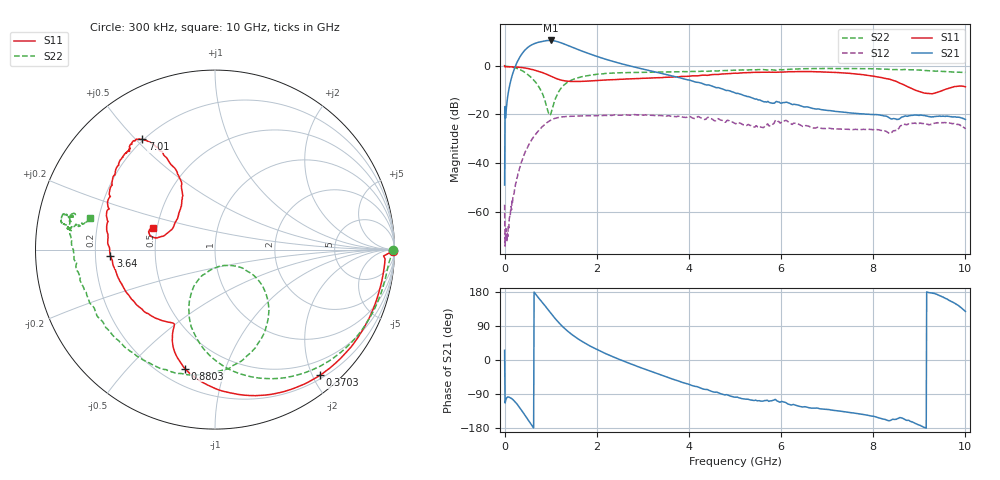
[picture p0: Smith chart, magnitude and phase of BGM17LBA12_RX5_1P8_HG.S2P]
!Agilent Technologies,E5071C,MY46316587,B.13.01
!Date: Fri Dec 08 11:11:56 2017
!Data & Calibration Information:
!Freq	S11:SOLT2(ON)	S21:SOLT2(ON)	S12:SOLT2(ON)	S22:SOLT2(ON)
!PortZ  Port1:50+j0  Port2:50+j0
!Above PortZ is port z conversion or system Z0 setting when saving the data.
!When reading, reference impedance value at option line is always used.
# Hz S dB R 50
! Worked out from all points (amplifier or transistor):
!   1001 points, 300 kHz to 10 GHz, reference 50 ohm
!   highest |S21| = 10.3 dB at 1 GHz (marker M1)
!   |S21| within 3 dB of that: 495.5 MHz to 1.496 GHz (1 GHz wide, 100 % of centre)
!   unconditionally stable (mu >= 1): start of sweep to end of sweep
!   at 1.66 GHz: K = 1.46, MAG = 9.3 dB, |S12| = -20.6 dB
!   at 5 GHz: K = 5.48, MAG = -4.1 dB, |S12| = -23.7 dB
!   at 10 GHz: K = 53.03, MAG = -18.3 dB, |S12| = -26.0 dB
!   lowest NFmin = 1.09 dB at 750 MHz
!   S11 on the Smith chart (normalised r, x): 300 kHz: open; 370.3 MHz: 0.25, -2.12; 880.3 MHz: 0.30, -0.74; 3.64 GHz: 0.26, -0.03; 7.01 GHz: 0.19, +0.52; 10 GHz: 0.47, +0.13
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300000  -0.06 -0.4  -49.00 25.6  -57.03 124.4  -0.05 -0.2
6.02982e7  -0.48 -8.6  -13.63 -98.2  -68.71 137.9  -0.35 -11.2
1.00297e8  -0.50 -13.9  -9.02 -98.3  -63.12 115.6  -0.43 -18.2
2.402928e8  -0.59 -32.8  -0.03 -112.2  -48.35 164.3  -0.97 -42.7
3.702889e8  -0.80 -50.1  4.67 -132.9  -39.30 157.0  -1.99 -64.5
4.902853e8  -1.15 -65.1  7.23 -154.6  -33.73 143.2  -3.46 -83.2
6.302811e8  -1.77 -81.1  8.89 -179.2  -29.16 126.2  -5.92 -101.6
7.502775e8  -2.43 -93.0  9.64 162.0  -26.34 112.7  -8.93 -114.1
8.802736e8  -3.30 -104.1  10.16 142.6  -23.97 97.4  -14.67 -118.6
1.00027e9  -4.32 -111.9  10.31 124.1  -22.41 82.8  -19.87 -60.5
1.140266e9  -5.46 -116.4  9.85 103.5  -21.40 66.8  -11.94 -33.5
1.33026e9  -6.33 -118.1  8.57 80.2  -20.86 50.1  -7.33 -46.1
1.67025e9  -6.47 -121.0  6.01 49.8  -20.62 30.2  -4.57 -67.5
2.35023e9  -5.78 -135.4  1.72 8.6  -20.37 6.0  -3.06 -96.4
3.3402e9  -4.97 -166.3  -2.92 -37.3  -20.47 -24.8  -2.64 -130.8
3.640191e9  -4.68 -176.7  -4.27 -50.2  -20.83 -34.2  -2.57 -142.0
5.00015e9  -3.11 144.1  -11.20 -98.2  -23.74 -66.7  -1.94 176.4
6.6701e9  -2.49 125.1  -17.49 -127.0  -25.47 -92.4  -1.23 166.8
7.01009e9  -2.66 123.4  -18.41 -130.5  -25.76 -92.4  -1.19 167.5
8.34005e9  -5.51 117.2  -21.32 -160.4  -27.70 -111.1  -1.54 170.4
9.210024e9  -11.49 147.8  -20.88 177.8  -24.31 -141.2  -2.12 169.8
1e10  -8.71 160.6  -22.08 128.1  -26.00 151.6  -2.88 165.6
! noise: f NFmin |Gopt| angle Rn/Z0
6.5e+08  1.219  0.4945  66.87  0.3301
7e+08  1.147  0.5135  70.81  0.2959
7.5e+08  1.095  0.508  72.6  0.2429
8e+08  1.11  0.5033  76.4  0.238
8.5e+08  1.13  0.4689  81.95  0.2205
9e+08  1.158  0.4801  82.19  0.2326
9.5e+08  1.172  0.483  86.26  0.2811
1e+09  1.207  0.4077  90.76  0.2057
